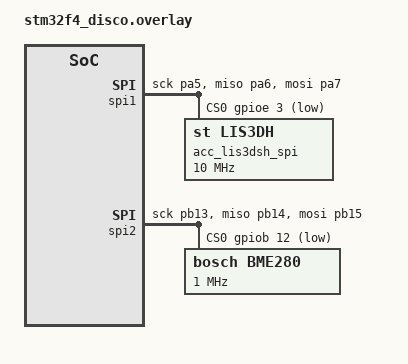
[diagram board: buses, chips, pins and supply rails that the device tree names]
/ {
	aliases 
    {
		lis3dsh = &acc_lis3dsh_spi;
	};
};


&spi1
{
    status="okay";
    pinctrl-0 = <&spi1_sck_pa5 &spi1_miso_pa6 &spi1_mosi_pa7>;
    pinctrl-names = "default";
    cs-gpios = <&gpioe 3 GPIO_ACTIVE_LOW>;

    acc_lis3dsh_spi: lis3dsh@0
    {
            status="okay";
            compatible = "st,lis3dh", "st,lis2dh", "st,lis3dsh";
            reg = <0>;
            spi-max-frequency = <10000000>;
    };
};

&spi2
{
    status = "okay";
    pinctrl-0 = <&spi2_sck_pb13 &spi2_miso_pb14 &spi2_mosi_pb15>;
    pinctrl-names = "default";
	cs-gpios = <&gpiob 12 GPIO_ACTIVE_LOW>;

    bme280@0 {
		compatible = "bosch,bme280";
		reg = <0>;
		spi-max-frequency = <1000000>; /* conservatively set to 1MHz */
        status = "okay";
	};
};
